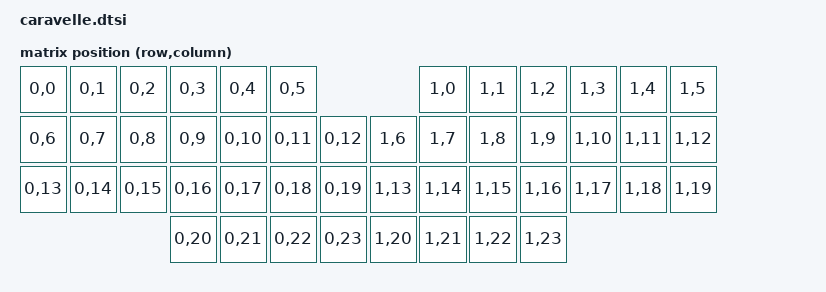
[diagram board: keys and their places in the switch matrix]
#include <dt-bindings/gpio/gpio.h>
#include "layouts.dtsi"

/ {
    chosen {
        zmk,physical-layout = &physical_layout0;
    };
};

/ {
    default_transform: keymap_transform_0 {
        compatible = "zmk,matrix-transform";
        columns = <24>;
        rows = <2>;

        map = <
            RC(0,0)  RC(0,1)  RC(0,2)  RC(0,3)  RC(0,4)  RC(0,5)                            RC(1,0)  RC(1,1)  RC(1,2)  RC(1,3)  RC(1,4)  RC(1,5)
            RC(0,6)  RC(0,7)  RC(0,8)  RC(0,9)  RC(0,10) RC(0,11) RC(0,12)         RC(1,6)  RC(1,7)  RC(1,8)  RC(1,9)  RC(1,10) RC(1,11) RC(1,12)
            RC(0,13) RC(0,14) RC(0,15) RC(0,16) RC(0,17) RC(0,18) RC(0,19)         RC(1,13) RC(1,14) RC(1,15) RC(1,16) RC(1,17) RC(1,18) RC(1,19)
                                       RC(0,20) RC(0,21) RC(0,22) RC(0,23)         RC(1,20) RC(1,21) RC(1,22) RC(1,23)
        >;
    };
};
